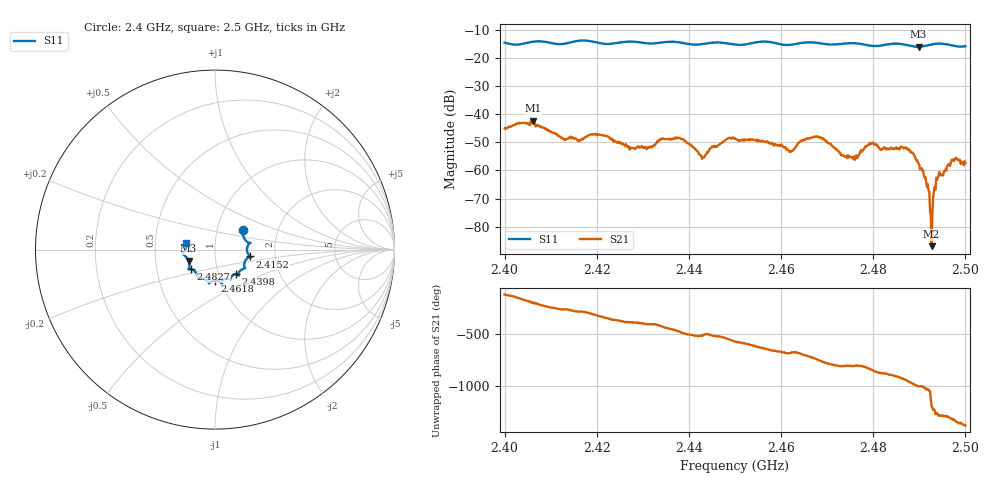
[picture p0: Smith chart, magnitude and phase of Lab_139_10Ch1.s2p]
# Hz S RI R 50
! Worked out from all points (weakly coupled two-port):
!   601 points, 2.4 GHz to 2.5 GHz, reference 50 ohm
!   highest |S21| = -42.21 dB at 2.4062 GHz (marker M1); lowest = -87.0 dB at 2.4927 GHz (marker M2)
!   lowest |S11| = -15.9 dB at 2.4898 GHz (marker M3), VSWR 1.38, Z = 36.9 - j4.64 ohm
!   |S11| at or under -10 dB: start of sweep to end of sweep
!   S12 and S22 are empty: the file has one direction only
!   S11 on the Smith chart (normalised r, x): 2.4 GHz: 1.33, +0.30; 2.4152 GHz: 1.48, -0.12; 2.4398 GHz: 1.21, -0.34; 2.4618 GHz: 0.94, -0.33; 2.4827 GHz: 0.75, -0.17; 2.5 GHz: 0.72, +0.06
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2.4e9  0.1557 0.107  -0.00234 -0.00514  0 0  0 0
2.406167e9  0.1934 0.0363  -0.00749 0.00201  0 0  0 0
2.415167e9  0.1949 -0.0381  0.000461 0.00375  0 0  0 0
2.416667e9  0.2021 -0.0428  0.000671 0.0035  0 0  0 0
2.420667e9  0.1783 -0.0497  0.00352 0.00254  0 0  0 0
2.427667e9  0.1677 -0.1032  0.0023 -0.000967  0 0  0 0
2.433333e9  0.1309 -0.1333  0.00205 -0.00251  0 0  0 0
2.439833e9  0.1159 -0.1362  -0.0024 -0.00194  0 0  0 0
2.443167e9  0.0883 -0.1566  -0.00148 -0.000878  0 0  0 0
2.45e9  0.0651 -0.1624  -0.0032 0.00196  0 0  0 0
2.461833e9  -0.00271 -0.1725  0.0017 0.00127  0 0  0 0
2.466667e9  -0.0344 -0.1884  0.00384 -0.000277  0 0  0 0
2.4755e9  -0.0943 -0.1594  -1.25e-05 -0.00165  0 0  0 0
2.4795e9  -0.1059 -0.1284  -0.00161 -0.00248  0 0  0 0
2.482667e9  -0.1349 -0.109  -0.00234 -0.000795  0 0  0 0
2.483333e9  -0.1401 -0.1085  -0.00241 -0.000428  0 0  0 0
2.487333e9  -0.1427 -0.0941  -0.00158 0.00192  0 0  0 0
2.489833e9  -0.1475 -0.0612  0.000355 0.00129  0 0  0 0
2.492667e9  -0.1732 -0.0293  -2.28e-05 -3.86e-05  0 0  0 0
2.494167e9  -0.1804 -0.0221  -0.000675 0.000384  0 0  0 0
2.4975e9  -0.1663 -0.00227  -0.000516 0.00137  0 0  0 0
2.5e9  -0.1591 0.038  0.000789 0.00109  0 0  0 0
